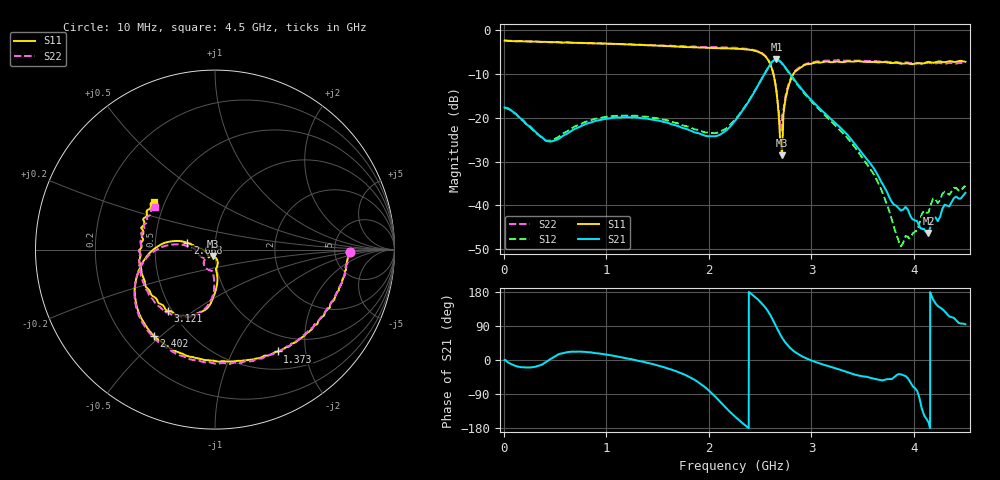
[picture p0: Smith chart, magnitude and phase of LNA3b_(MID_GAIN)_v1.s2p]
! Created Tue Apr 16 19:45:53 2013
# ghz S ma R 50
! 2 Port Network Data from SP1.SP block
! freq  magS11  angS11  magS21  angS21  magS12  angS12  magS22  angS22
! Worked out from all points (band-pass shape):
!   4491 points, 10 MHz to 4.5 GHz, reference 50 ohm
!   highest |S21| = -6.78 dB at 2.659 GHz (marker M1); lowest = -46.2 dB at 4.14 GHz (marker M2)
!   |S21| within 3 dB of the highest: 2.55 GHz to 2.783 GHz (233 MHz wide, 8.74 % of centre)
!   lowest |S11| = -28.6 dB at 2.712 GHz (marker M3), VSWR 1.08, Z = 48.8 - j3.45 ohm
!   |S11| at or under -10 dB: 2.628 GHz to 2.827 GHz (199.2 MHz wide, 7.31 % of centre)
!   |S22| runs from -23.0 to -2.5 dB; largest |S21 - S12| = 0.011
!   S11 on the Smith chart (normalised r, x): 10 MHz: 6.96, -0.44; 1.373 GHz: 0.75, -1.52; 2.402 GHz: 0.32, -0.47; 2.668 GHz: 0.73, +0.06; 3.121 GHz: 0.48, -0.40; 4.5 GHz: 0.44, +0.29
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0.01  0.7496 -1.1  0.1299 -0.2  0.1286 -0.3  0.7518 -1.0
0.422  0.7227 -18.9  0.05395 -3.7  0.0547 -0.5  0.7235 -18.6
0.759  0.7059 -31.9  0.08021 22.0  0.0854 22.1  0.7012 -31.6
1.373  0.6666 -58.4  0.0979 -5.6  0.1027 -6.5  0.6652 -58.6
1.507  0.6535 -64.7  0.0925 -15.0  0.09766 -15.6  0.6589 -65.2
2.033  0.6186 -94.1  0.06109 -88.8  0.06683 -86.1  0.6299 -93.9
2.255  0.6076 -110.5  0.09148 -149.1  0.09441 -145.5  0.6207 -110.0
2.402  0.5886 -125.4  0.1621 177.3  0.1629 179.7  0.5966 -125.0
2.577  0.4517 -162.7  0.3686 128.4  0.3676 128.7  0.4584 -161.3
2.659  0.1975 166.1  0.4579 86.7  0.4548 86.5  0.2008 171.6
2.668  0.159 166.2  0.4542 81.8  0.4508 81.5  0.1637 172.1
2.696  0.05143 -161.6  0.4343 67.2  0.4306 66.6  0.08535 -151.5
2.712  0.03712 -107.8  0.416 59.7  0.4124 59.0  0.09434 -131.8
2.748  0.1643 -85.4  0.3677 45.4  0.3632 44.6  0.1767 -91.4
2.804  0.2803 -93.1  0.2993 28.9  0.2956 27.4  0.2867 -94.9
3.004  0.4112 -117.0  0.1556 -1.8  0.1514 -5.1  0.4214 -117.9
3.121  0.4293 -127.4  0.1144 -12.7  0.1092 -17.2  0.4407 -127.4
3.577  0.4296 -161.4  0.02966 -47.3  0.02568 -60.9  0.4388 -157.8
3.752  0.4195 -173.9  0.01294 -50.5  0.009077 -82.9  0.4283 -169.2
3.874  0.4091 177.9  0.008778 -38.0  0.003476 -76.8  0.4179 -176.4
4.14  0.4297 163.6  0.004878 -164.1  0.008312 178.2  0.4221 167.5
4.5  0.4303 141.8  0.01393 94.3  0.01679 109.6  0.409 144.9
